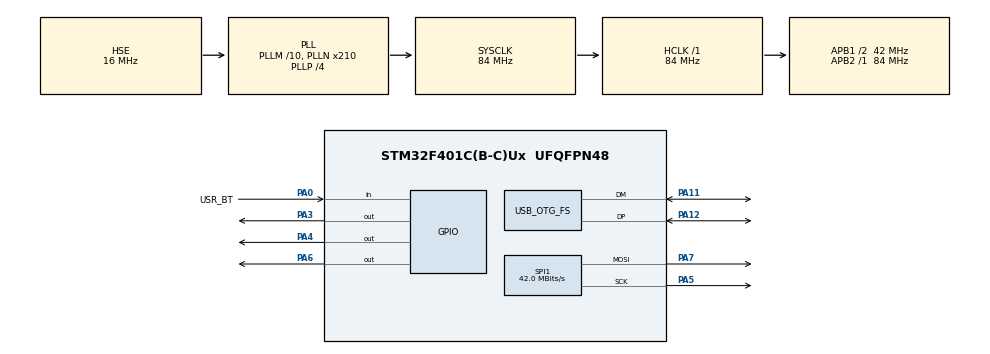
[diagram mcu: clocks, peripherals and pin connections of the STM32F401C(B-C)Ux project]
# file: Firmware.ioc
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Mcu.Family=STM32F4
Mcu.Name=STM32F401C(B-C)Ux
Mcu.Package=UFQFPN48
NVIC.OTG_FS_IRQn=true\:0\:0\:false\:false\:true\:false\:true
NVIC.PriorityGroup=NVIC_PRIORITYGROUP_4
PA0-WKUP.GPIO_Label=USR_BT
PA0-WKUP.GPIO_PuPd=GPIO_PULLUP
PA0-WKUP.Signal=GPIO_Input
PA11.Mode=Device_Only
PA11.Signal=USB_OTG_FS_DM
PA12.Mode=Device_Only
PA12.Signal=USB_OTG_FS_DP
PA13.Mode=Serial_Wire
PA13.Signal=SYS_JTMS-SWDIO
PA14.Mode=Serial_Wire
PA14.Signal=SYS_JTCK-SWCLK
PA3.GPIO_Speed=GPIO_SPEED_FREQ_VERY_HIGH
PA3.Signal=GPIO_Output
PA4.GPIO_Speed=GPIO_SPEED_FREQ_VERY_HIGH
PA4.Signal=GPIO_Output
PA5.Mode=TX_Only_Simplex_Unidirect_Master
PA5.Signal=SPI1_SCK
PA6.GPIO_Speed=GPIO_SPEED_FREQ_VERY_HIGH
PA6.Signal=GPIO_Output
PA7.Mode=TX_Only_Simplex_Unidirect_Master
PA7.Signal=SPI1_MOSI
PH0\ -\ OSC_IN.Mode=HSE-External-Oscillator
PH0\ -\ OSC_IN.Signal=RCC_OSC_IN
PH1\ -\ OSC_OUT.Mode=HSE-External-Oscillator
PH1\ -\ OSC_OUT.Signal=RCC_OSC_OUT
ProjectManager.HeapSize=0x200
ProjectManager.StackSize=0x400
ProjectManager.TargetToolchain=Makefile
RCC.48MHZClocksFreq_Value=48000000
RCC.AHBFreq_Value=84000000
RCC.APB1CLKDivider=RCC_HCLK_DIV2
RCC.APB1Freq_Value=42000000
RCC.APB1TimFreq_Value=84000000
RCC.APB2Freq_Value=84000000
RCC.APB2TimFreq_Value=84000000
RCC.CortexFreq_Value=84000000
RCC.HCLKFreq_Value=84000000
RCC.HSE_VALUE=16000000
RCC.HSI_VALUE=16000000
RCC.LSE_VALUE=32768
RCC.PLLM=10
RCC.PLLN=210
RCC.PLLP=RCC_PLLP_DIV4
RCC.PLLQ=7
RCC.SYSCLKFreq_VALUE=84000000
RCC.SYSCLKSource=RCC_SYSCLKSOURCE_PLLCLK
RCC.VCOOutputFreq_Value=336000000
SPI1.CalculateBaudRate=42.0 MBits/s
SPI1.Direction=SPI_DIRECTION_2LINES
SPI1.Mode=SPI_MODE_MASTER
SPI1.VirtualType=VM_MASTER
USB_DEVICE.CLASS_NAME_FS=CUSTOM_HID
USB_DEVICE.CONFIGURATION_STRING_CUSTOMHID_FS=Custom HID Config
USB_DEVICE.CUSTOM_HID_FS_BINTERVAL=0x1
USB_DEVICE.INTERFACE_STRING_CUSTOMHID_FS=Custom HID Interface
USB_DEVICE.MANUFACTURER_STRING=A_D Electronics
USB_DEVICE.PID_CUSTOMHID_FS=0x0440
USB_DEVICE.PRODUCT_STRING_CUSTOMHID_FS=Custom HID Example
USB_DEVICE.USBD_CUSTOMHID_OUTREPORT_BUF_SIZE=64
USB_DEVICE.USBD_CUSTOM_HID_REPORT_DESC_SIZE=41
USB_DEVICE.USBD_SELF_POWERED=0
USB_DEVICE.VID=0xADAD
USB_DEVICE.VirtualMode=CustomHid
USB_DEVICE.VirtualModeFS=Custom_Hid_FS
USB_OTG_FS.VirtualMode=Device_Only
VP_USB_DEVICE_VS_USB_DEVICE_CUSTOM_HID_FS.Mode=CUSTOM_HID_FS
board=custom

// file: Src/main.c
/* USER CODE BEGIN Header */
/**
  ******************************************************************************
  * @file           : main.c
  * @brief          : Main program body
  ******************************************************************************
  * @attention
  *
  * <h2><center>&copy; Copyright (c) 2020 STMicroelectronics.
  * All rights reserved.</center></h2>
  *
  * This software component is licensed by ST under Ultimate Liberty license
  * SLA0044, the "License"; You may not use this file except in compliance with
  * the License. You may obtain a copy of the License at:
  *                             www.st.com/SLA0044
  *
  ******************************************************************************
  */
/* USER CODE END Header */
#include "main.h"
#include "usb_device.h"

/* USER CODE BEGIN Includes */
#include "ST7735.h"
#include "color565.h"
#include "usbd_custom_hid_if.h"
/* USER CODE END Includes */

SPI_HandleTypeDef hspi1;

void SystemClock_Config(void);
static void MX_GPIO_Init(void);
static void MX_SPI1_Init(void);

/* USER CODE BEGIN 0 */
volatile uint16_t count = 0;
volatile uint16_t color_font = COLOR565_AQUA;
volatile uint16_t color_back = COLOR565_BLACK;

extern USBD_HandleTypeDef hUsbDeviceFS;

void Example_ParseReport(uint8_t *report)
{
	count++;

	if(report[0] == 0x01) // Report ID
	{
		color_font = ((report[3] & 0x1f) | ((report[2] & 0x3f) << 5) | ((report[1] & 0x1f) << 11)); // B5 G6 R5
		color_back = ((report[6] & 0x1f) | ((report[5] & 0x3f) << 5) | ((report[4] & 0x1f) << 11)); // B5 G6 R5
	}
}
/* USER CODE END 0 */

int main(void)
{
  /* USER CODE BEGIN 1 */
  static uint16_t usr_count = 0;
  /* USER CODE END 1 */

  /* MCU Configuration--------------------------------------------------------*/

  /* Reset of all peripherals, Initializes the Flash interface and the Systick. */
  HAL_Init();

  /* Configure the system clock */
  SystemClock_Config();

  /* Initialize all configured peripherals */
  MX_GPIO_Init();
  MX_USB_DEVICE_Init();
  MX_SPI1_Init();
  /* USER CODE BEGIN 2 */
  ST7735_Init(&hspi1);
  ST7735_Clear();
  /* USER CODE END 2 */

  /* Infinite loop */
  while (1)
  {

    /* USER CODE BEGIN 3 */
	ST7735_PutStr(30, 0, "TEST STRING", color_font, color_back);
	ST7735_PutDec(60, 0, count, 4, COLOR565_FIRE_BRICK, COLOR565_BLACK);
	ST7735_PutDec(90, 0, usr_count, 4, COLOR565_GREEN, COLOR565_BLACK);
	HAL_Delay(250);

	if(HAL_GPIO_ReadPin(USR_BT_GPIO_Port, USR_BT_Pin) == GPIO_PIN_RESET)
	{
		uint8_t report[33];
		usr_count++;
		report[0] = 0x02;

		report[1] = (usr_count >> 8);
		report[2] = (usr_count & 0xFF);

		USBD_CUSTOM_HID_SendReport(&hUsbDeviceFS, (uint8_t *)&report, 33);
	}
  }
  /* USER CODE END 3 */
}

void SystemClock_Config(void)
{
  RCC_OscInitTypeDef RCC_OscInitStruct = {0};
  RCC_ClkInitTypeDef RCC_ClkInitStruct = {0};

  /** Configure the main internal regulator output voltage
  */
  __HAL_RCC_PWR_CLK_ENABLE();
  __HAL_PWR_VOLTAGESCALING_CONFIG(PWR_REGULATOR_VOLTAGE_SCALE2);
  /** Initializes the RCC Oscillators according to the specified parameters
  * in the RCC_OscInitTypeDef structure.
  */
  RCC_OscInitStruct.OscillatorType = RCC_OSCILLATORTYPE_HSE;
  RCC_OscInitStruct.HSEState = RCC_HSE_ON;
  RCC_OscInitStruct.PLL.PLLState = RCC_PLL_ON;
  RCC_OscInitStruct.PLL.PLLSource = RCC_PLLSOURCE_HSE;
  RCC_OscInitStruct.PLL.PLLM = 10;
  RCC_OscInitStruct.PLL.PLLN = 210;
  RCC_OscInitStruct.PLL.PLLP = RCC_PLLP_DIV4;
  RCC_OscInitStruct.PLL.PLLQ = 7;
  if (HAL_RCC_OscConfig(&RCC_OscInitStruct) != HAL_OK)
  {
    Error_Handler();
  }
  /** Initializes the CPU, AHB and APB buses clocks
  */
  RCC_ClkInitStruct.ClockType = RCC_CLOCKTYPE_HCLK|RCC_CLOCKTYPE_SYSCLK
                              |RCC_CLOCKTYPE_PCLK1|RCC_CLOCKTYPE_PCLK2;
  RCC_ClkInitStruct.SYSCLKSource = RCC_SYSCLKSOURCE_PLLCLK;
  RCC_ClkInitStruct.AHBCLKDivider = RCC_SYSCLK_DIV1;
  RCC_ClkInitStruct.APB1CLKDivider = RCC_HCLK_DIV2;
  RCC_ClkInitStruct.APB2CLKDivider = RCC_HCLK_DIV1;

  if (HAL_RCC_ClockConfig(&RCC_ClkInitStruct, FLASH_LATENCY_2) != HAL_OK)
  {
    Error_Handler();
  }
}

static void MX_SPI1_Init(void)
{

  /* SPI1 parameter configuration*/
  hspi1.Instance = SPI1;
  hspi1.Init.Mode = SPI_MODE_MASTER;
  hspi1.Init.Direction = SPI_DIRECTION_2LINES;
  hspi1.Init.DataSize = SPI_DATASIZE_8BIT;
  hspi1.Init.CLKPolarity = SPI_POLARITY_LOW;
  hspi1.Init.CLKPhase = SPI_PHASE_1EDGE;
  hspi1.Init.NSS = SPI_NSS_SOFT;
  hspi1.Init.BaudRatePrescaler = SPI_BAUDRATEPRESCALER_2;
  hspi1.Init.FirstBit = SPI_FIRSTBIT_MSB;
  hspi1.Init.TIMode = SPI_TIMODE_DISABLE;
  hspi1.Init.CRCCalculation = SPI_CRCCALCULATION_DISABLE;
  hspi1.Init.CRCPolynomial = 10;
  if (HAL_SPI_Init(&hspi1) != HAL_OK)
  {
    Error_Handler();
  }

}

static void MX_GPIO_Init(void)
{
  GPIO_InitTypeDef GPIO_InitStruct = {0};

  /* GPIO Ports Clock Enable */
  __HAL_RCC_GPIOH_CLK_ENABLE();
  __HAL_RCC_GPIOA_CLK_ENABLE();

  /*Configure GPIO pin Output Level */
  HAL_GPIO_WritePin(GPIOA, GPIO_PIN_3|GPIO_PIN_4|GPIO_PIN_6, GPIO_PIN_RESET);

  /*Configure GPIO pin : USR_BT_Pin */
  GPIO_InitStruct.Pin = USR_BT_Pin;
  GPIO_InitStruct.Mode = GPIO_MODE_INPUT;
  GPIO_InitStruct.Pull = GPIO_PULLUP;
  HAL_GPIO_Init(USR_BT_GPIO_Port, &GPIO_InitStruct);

  /*Configure GPIO pins : PA3 PA4 PA6 */
  GPIO_InitStruct.Pin = GPIO_PIN_3|GPIO_PIN_4|GPIO_PIN_6;
  GPIO_InitStruct.Mode = GPIO_MODE_OUTPUT_PP;
  GPIO_InitStruct.Pull = GPIO_NOPULL;
  GPIO_InitStruct.Speed = GPIO_SPEED_FREQ_VERY_HIGH;
  HAL_GPIO_Init(GPIOA, &GPIO_InitStruct);

}

void Error_Handler(void)
{
}

/************************ (C) COPYRIGHT STMicroelectronics *****END OF FILE****/
